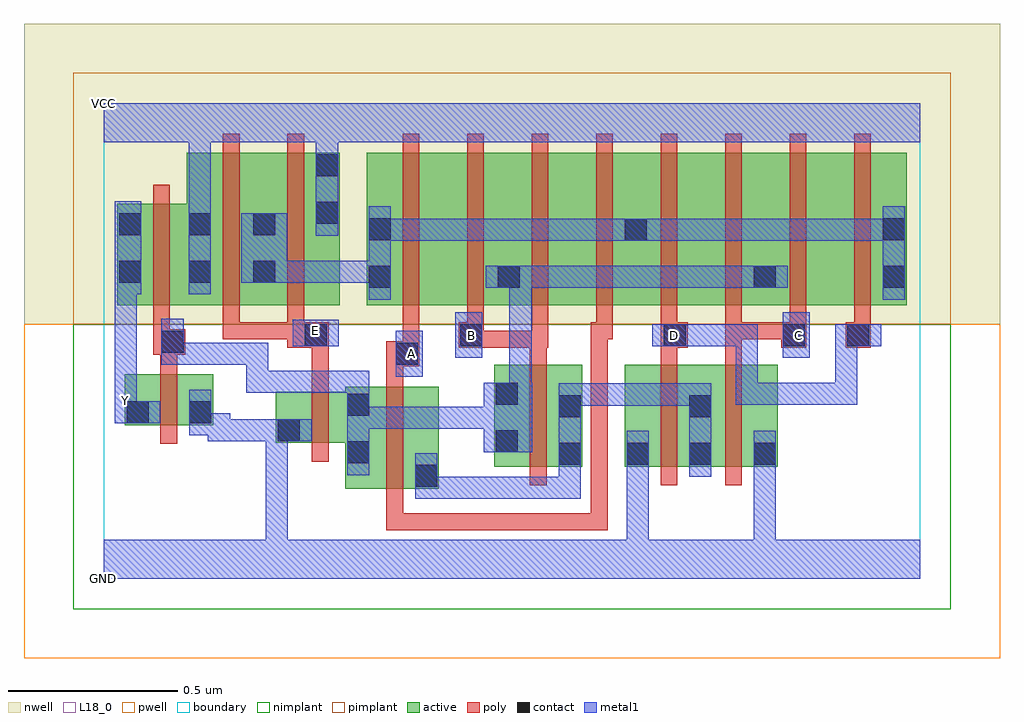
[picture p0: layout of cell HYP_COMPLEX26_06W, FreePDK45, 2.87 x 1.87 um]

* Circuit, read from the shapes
.subckt HYP_COMPLEX26_06W A B C D E GND VCC Y
M1 GND n1 Y VSUBS nfet w=0.15u l=0.05u
M2 n1 E GND VSUBS nfet w=0.15u l=0.05u
M3 n2 A n1 VSUBS nfet w=0.3u l=0.05u
M4 n2 B n1 VSUBS nfet w=0.3u l=0.05u
M5 n2 D GND VSUBS nfet w=0.3u l=0.05u
M6 GND C n2 VSUBS nfet w=0.3u l=0.05u
M7 VCC n1 Y n3 pfet w=0.3u l=0.05u
M8 n4 E VCC n3 pfet w=0.45u l=0.05u m=2
M9 n5 A n4 n3 pfet w=0.45u l=0.05u
M10 n1 B n5 n3 pfet w=0.45u l=0.05u
M11 n6 B n1 n3 pfet w=0.45u l=0.05u
M12 n4 A n6 n3 pfet w=0.45u l=0.05u
M13 n7 D n4 n3 pfet w=0.45u l=0.05u
M14 n1 C n7 n3 pfet w=0.45u l=0.05u
M15 n8 C n1 n3 pfet w=0.45u l=0.05u
M16 n4 D n8 n3 pfet w=0.45u l=0.05u
.ends

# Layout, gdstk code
import gdstk
lib = gdstk.Library(unit=1e-6, precision=1e-09)
def R(c, l, rs):  # rectangles x0, y0, x1, y1
    for r in rs: c.add(gdstk.rectangle(r[:2], r[2:], *l))
def A(c, l, x, y, w, h, nx, ny, dx, dy):  # array of equal rectangles
    R(c, l, [(x+i*dx, y+j*dy, x+i*dx+w, y+j*dy+h) for i in range(nx) for j in range(ny)])
active = (1, 0)
pwell = (2, 0)
nwell = (3, 0)
nimplant = (4, 0)
pimplant = (5, 0)
poly = (9, 0)
contact = (10, 0)
metal1 = (11, 0)
L18_0 = (18, 0)
boundary = (235, 0)

hyp_complex26_06w = lib.new_cell('HYP_COMPLEX26_06W')
A(hyp_complex26_06w, active, 1.38, 0.805, 0.225, 0.45, 3, 1, 0.38, 0)
R(hyp_complex26_06w, active, [(0.712,0.265,0.987,0.565), (0.712,0.265,0.787,0.55), (0.912,0.265,0.987,0.565), (1.15,0.33,1.41,0.63), (1.335,0.33,1.41,0.63), (1.535,0.33,1.795,0.63), (1.535,0.33,1.61,0.547), (1.72,0.33,1.985,0.63), (1.72,0.33,1.795,0.545), (1.91,0.33,1.985,0.63), (1.15,0.367,1.225,0.63), (0.507,0.4,0.787,0.55), (0.507,0.4,0.582,0.55), (0.062,0.452,0.137,0.602), (0.062,0.452,0.322,0.602), (0.247,0.452,0.322,0.602), (0.04,0.805,0.115,1.105), (0.04,0.805,0.32,1.105), (0.245,0.805,0.32,1.105), (0.245,0.805,0.51,1.255), (0.435,0.805,0.51,1.2), (0.435,0.805,0.695,1.255), (0.62,0.805,0.695,1.255), (0.775,0.805,1,1.255), (0.775,0.805,0.88,1.2), (1,0.805,1.23,1.255), (1.155,0.805,1.38,1.255), (1.155,0.805,1.23,1.07), (1.53,0.805,1.605,1.2), (1.53,0.805,1.76,1.255), (1.91,0.805,2.14,1.255), (1.91,0.805,1.985,1.07), (2.29,0.805,2.365,1.2)])
R(hyp_complex26_06w, pwell, [(-0.235,-0.235,2.64,0.75)])
R(hyp_complex26_06w, nwell, [(-0.235,0.75,2.64,1.635)])
R(hyp_complex26_06w, nimplant, [(-0.09,-0.09,2.495,0.75)])
R(hyp_complex26_06w, pimplant, [(-0.09,0.75,2.495,1.49)])
A(hyp_complex26_06w, poly, 1.45, 0.705, 0.05, 0.095, 5, 1, 0.19, 0)
A(hyp_complex26_06w, poly, 0.88, 0.75, 0.05, 0.56, 8, 1, 0.19, 0)
R(hyp_complex26_06w, poly, [(0.832,0.142,0.882,0.192), (0.832,0.142,0.882,0.192), (0.832,0.142,0.882,0.192), (0.832,0.142,1.015,0.192), (0.832,0.142,0.882,0.26), (0.965,0.142,1.015,0.192), (0.965,0.142,1.265,0.192), (1.215,0.142,1.265,0.192), (1.215,0.142,1.265,0.192), (1.215,0.142,1.265,0.192), (1.215,0.142,1.485,0.192), (1.435,0.142,1.485,0.192), (1.435,0.142,1.485,0.192), (1.435,0.142,1.485,0.192), (1.435,0.142,1.485,0.192), (1.435,0.142,1.485,0.192), (1.435,0.142,1.485,0.192), (1.435,0.142,1.485,0.192), (1.435,0.142,1.485,0.192), (1.435,0.142,1.485,0.192), (1.435,0.142,1.485,0.755), (0.832,0.21,0.882,0.62), (1.255,0.275,1.305,0.685), (1.64,0.275,1.69,0.685), (1.83,0.275,1.88,0.685), (0.612,0.345,0.662,0.605), (0.167,0.397,0.217,0.657), (0.612,0.555,0.662,0.73), (0.832,0.57,0.882,0.675), (0.167,0.607,0.217,0.71), (0.832,0.625,0.93,0.7), (1.255,0.635,1.305,0.73), (1.64,0.635,1.69,0.73), (1.83,0.635,1.88,0.755), (0.88,0.65,0.93,0.8), (0.145,0.66,0.24,0.735), (0.54,0.68,0.662,0.755), (1.045,0.68,1.12,0.755), (1.07,0.68,1.305,0.73), (1.255,0.68,1.305,0.73), (1.255,0.68,1.305,0.73), (1.255,0.68,1.31,0.73), (1.26,0.68,1.31,0.8), (1.64,0.68,1.72,0.755), (1.995,0.68,2.07,0.755), (2.185,0.68,2.26,0.755), (0.145,0.685,0.195,0.8), (0.35,0.705,0.4,0.8), (0.35,0.705,0.4,0.755), (0.35,0.705,0.59,0.755), (0.54,0.705,0.59,0.8), (0.54,0.705,0.59,0.755), (0.54,0.705,0.59,0.755), (1.07,0.705,1.12,0.8), (1.435,0.705,1.5,0.755), (1.83,0.705,2.045,0.755), (1.83,0.705,1.88,0.755), (1.83,0.705,1.88,0.755), (1.83,0.705,1.88,0.755), (0.145,0.75,0.195,1.16), (0.35,0.75,0.4,1.31), (0.54,0.75,0.59,1.31)])
R(hyp_complex26_06w, contact, [(0.917,0.27,0.982,0.335), (1.34,0.335,1.405,0.4), (1.54,0.335,1.605,0.4), (1.725,0.335,1.79,0.4), (1.915,0.335,1.98,0.4), (0.717,0.34,0.782,0.405), (1.155,0.372,1.22,0.437), (0.512,0.405,0.577,0.47), (0.067,0.457,0.132,0.522), (0.252,0.457,0.317,0.522), (1.34,0.475,1.405,0.54), (1.725,0.475,1.79,0.54), (0.717,0.48,0.782,0.545), (1.155,0.512,1.22,0.577), (0.86,0.63,0.925,0.695), (0.17,0.665,0.235,0.73), (0.592,0.685,0.657,0.75), (1.05,0.685,1.115,0.75), (1.65,0.685,1.715,0.75), (2,0.685,2.065,0.75), (2.19,0.685,2.255,0.75), (0.78,0.857,0.845,0.922), (1.16,0.857,1.225,0.922), (1.915,0.857,1.98,0.922), (2.295,0.857,2.36,0.922), (0.045,0.872,0.11,0.937), (0.25,0.872,0.315,0.937), (0.44,0.872,0.505,0.937), (1.535,0.995,1.6,1.06), (0.78,0.997,0.845,1.062), (2.295,0.997,2.36,1.062), (0.045,1.012,0.11,1.077), (0.25,1.012,0.315,1.077), (0.44,1.012,0.505,1.077), (0.625,1.045,0.69,1.11), (0.625,1.185,0.69,1.25)])
R(hyp_complex26_06w, metal1, [(0,0,2.405,0.115), (0.477,0.05,0.542,0.115), (0.477,0.05,0.542,0.115), (0.477,0.05,0.542,0.47), (1.54,0.05,1.605,0.365), (1.915,0.05,1.98,0.365), (0.917,0.235,0.982,0.37), (0.917,0.235,1.26,0.3), (1.195,0.235,1.26,0.3), (1.195,0.235,1.26,0.3), (1.195,0.235,1.26,0.3), (1.195,0.235,1.405,0.3), (1.34,0.235,1.405,0.365), (1.34,0.3,1.405,0.365), (1.34,0.3,1.405,0.575), (1.54,0.3,1.605,0.365), (1.54,0.3,1.605,0.365), (1.54,0.3,1.605,0.365), (1.54,0.3,1.605,0.365), (1.54,0.3,1.605,0.435), (1.725,0.3,1.79,0.575), (1.915,0.3,1.98,0.365), (1.915,0.3,1.98,0.365), (1.915,0.3,1.98,0.365), (1.915,0.3,1.98,0.365), (1.915,0.3,1.98,0.435), (0.717,0.305,0.782,0.612), (1.12,0.372,1.262,0.577), (0.307,0.405,0.542,0.47), (0.307,0.405,0.372,0.487), (0.477,0.405,0.542,0.47), (0.477,0.405,0.542,0.47), (0.477,0.405,0.542,0.47), (0.477,0.405,0.542,0.47), (0.477,0.405,0.612,0.47), (0.252,0.422,0.317,0.557), (0.252,0.422,0.372,0.487), (0.717,0.442,0.845,0.507), (0.78,0.442,0.845,0.507), (0.78,0.442,0.92,0.507), (0.855,0.442,0.92,0.507), (0.855,0.442,0.982,0.507), (0.917,0.442,0.982,0.507), (0.917,0.442,1.185,0.507), (1.12,0.442,1.185,0.507), (1.12,0.442,1.185,0.507), (0.032,0.457,0.097,0.522), (0.032,0.457,0.167,0.522), (0.032,0.457,0.097,0.592), (1.34,0.51,1.405,0.575), (1.34,0.51,1.405,0.575), (1.34,0.51,1.542,0.575), (1.477,0.51,1.542,0.575), (1.477,0.51,1.542,0.575), (1.477,0.51,1.542,0.575), (1.477,0.51,1.79,0.575), (1.725,0.51,1.79,0.575), (1.725,0.51,1.79,0.575), (1.195,0.512,1.26,0.577), (1.195,0.512,1.26,0.577), (1.195,0.512,1.26,0.922), (1.862,0.512,1.927,0.577), (1.862,0.512,1.927,0.75), (1.862,0.512,2.065,0.577), (2,0.512,2.065,0.577), (2,0.512,2.22,0.577), (2.155,0.512,2.22,0.577), (2.155,0.512,2.22,0.75), (0.032,0.527,0.097,0.902), (0.42,0.547,0.485,0.612), (0.42,0.547,0.707,0.612), (0.42,0.547,0.485,0.695), (0.642,0.547,0.707,0.612), (0.642,0.547,0.782,0.612), (0.86,0.595,0.94,0.73), (0.17,0.63,0.235,0.765), (0.17,0.63,0.332,0.695), (0.267,0.63,0.332,0.695), (0.267,0.63,0.402,0.695), (0.337,0.63,0.402,0.695), (0.337,0.63,0.485,0.695), (0.42,0.63,0.485,0.695), (1.035,0.65,1.115,0.785), (2,0.65,2.08,0.785), (0.557,0.685,0.692,0.762), (1.615,0.685,1.75,0.75), (1.685,0.685,1.772,0.75), (1.707,0.685,1.772,0.75), (1.707,0.685,1.927,0.75), (1.862,0.685,1.927,0.75), (1.862,0.685,1.927,0.75), (1.862,0.685,1.927,0.75), (2.155,0.685,2.22,0.75), (2.155,0.685,2.22,0.75), (2.155,0.685,2.29,0.75), (0.78,0.822,0.845,1.097), (2.295,0.822,2.36,1.097), (0.032,0.837,0.11,1.112), (0.25,0.837,0.315,1.112), (1.125,0.857,1.26,0.922), (1.195,0.857,1.405,0.922), (1.34,0.857,1.405,0.922), (1.34,0.857,1.405,0.922), (1.34,0.857,1.405,0.922), (1.34,0.857,1.542,0.922), (1.477,0.857,1.542,0.922), (1.477,0.857,1.542,0.922), (1.477,0.857,1.542,0.922), (1.477,0.857,1.772,0.922), (1.707,0.857,1.772,0.922), (1.707,0.857,1.772,0.922), (1.707,0.857,1.772,0.922), (1.707,0.857,1.927,0.922), (1.862,0.857,1.927,0.922), (1.862,0.857,1.945,0.922), (1.88,0.857,2.015,0.922), (0.405,0.872,0.54,1.077), (0.475,0.872,0.54,0.937), (0.475,0.872,0.54,0.937), (0.475,0.872,0.782,0.937), (0.717,0.872,0.782,0.937), (0.717,0.872,0.845,0.937), (0.78,0.995,0.962,1.06), (0.897,0.995,0.962,1.06), (0.897,0.995,1.047,1.06), (0.982,0.995,1.047,1.06), (0.982,0.995,1.047,1.06), (0.982,0.995,1.047,1.06), (0.982,0.995,1.185,1.06), (1.12,0.995,1.185,1.06), (1.12,0.995,1.185,1.06), (1.12,0.995,1.185,1.06), (1.12,0.995,1.397,1.06), (1.332,0.995,1.397,1.06), (1.332,0.995,1.397,1.06), (1.332,0.995,1.397,1.06), (1.332,0.995,1.542,1.06), (1.477,0.995,1.542,1.06), (1.477,0.995,1.565,1.06), (1.5,0.995,1.635,1.06), (1.57,0.995,1.772,1.06), (1.707,0.995,1.772,1.06), (1.707,0.995,1.772,1.06), (1.707,0.995,1.772,1.06), (1.707,0.995,1.927,1.06), (1.862,0.995,1.927,1.06), (1.862,0.995,1.927,1.06), (1.862,0.995,1.927,1.06), (1.862,0.995,2.065,1.06), (2,0.995,2.065,1.06), (2,0.995,2.202,1.06), (2.137,0.995,2.202,1.06), (2.137,0.995,2.202,1.06), (2.137,0.995,2.202,1.06), (2.137,0.995,2.36,1.06), (2.295,0.995,2.36,1.06), (2.295,0.995,2.36,1.06), (0.625,1.01,0.69,1.285), (0.25,1.047,0.315,1.35), (0.625,1.22,0.69,1.35), (0,1.285,2.405,1.4)])
R(hyp_complex26_06w, L18_0, [(0,0,2.405,0.115), (0.477,0.05,0.542,0.115), (0.477,0.05,0.542,0.115), (0.477,0.05,0.542,0.47), (1.54,0.05,1.605,0.365), (1.915,0.05,1.98,0.365), (1.54,0.3,1.605,0.435), (1.54,0.3,1.605,0.365), (1.54,0.3,1.605,0.365), (1.54,0.3,1.605,0.365), (1.54,0.3,1.605,0.365), (1.915,0.3,1.98,0.435), (1.915,0.3,1.98,0.365), (1.915,0.3,1.98,0.365), (1.915,0.3,1.98,0.365), (1.915,0.3,1.98,0.365), (0.307,0.405,0.372,0.487), (0.307,0.405,0.542,0.47), (0.477,0.405,0.612,0.47), (0.477,0.405,0.542,0.47), (0.477,0.405,0.542,0.47), (0.477,0.405,0.542,0.47), (0.477,0.405,0.542,0.47), (0.252,0.422,0.317,0.557), (0.252,0.422,0.372,0.487), (0.032,0.457,0.167,0.522), (0.032,0.457,0.097,0.592), (0.032,0.457,0.097,0.522), (0.032,0.492,0.097,0.557), (1.862,0.512,1.927,0.577), (1.862,0.512,1.927,0.75), (1.862,0.512,2.065,0.577), (2,0.512,2.065,0.577), (2,0.512,2.22,0.577), (2.155,0.512,2.22,0.577), (2.155,0.512,2.22,0.75), (0.032,0.527,0.097,0.902), (0.86,0.595,0.94,0.73), (0.875,0.63,0.94,0.695), (1.035,0.65,1.115,0.785), (2,0.65,2.08,0.785), (0.557,0.685,0.692,0.762), (1.05,0.685,1.115,0.75), (1.615,0.685,1.75,0.75), (1.65,0.685,1.715,0.75), (1.685,0.685,1.772,0.75), (1.707,0.685,1.772,0.75), (1.707,0.685,1.927,0.75), (1.862,0.685,1.927,0.75), (1.862,0.685,1.927,0.75), (1.862,0.685,1.927,0.75), (2.015,0.685,2.08,0.75), (2.155,0.685,2.29,0.75), (2.155,0.685,2.22,0.75), (2.155,0.685,2.22,0.75), (0.592,0.697,0.657,0.762), (0.032,0.837,0.11,1.112), (0.25,0.837,0.315,1.112), (0.625,1.01,0.69,1.285), (0.25,1.047,0.315,1.35), (0.625,1.22,0.69,1.35), (0,1.285,2.405,1.4)])
R(hyp_complex26_06w, boundary, [(0,0,2.405,1.4)])
hyp_complex26_06w.add(gdstk.Label('A', (0.907,0.662), layer=11, texttype=0))
hyp_complex26_06w.add(gdstk.Label('B', (1.082,0.717), layer=11, texttype=0))
hyp_complex26_06w.add(gdstk.Label('C', (2.047,0.717), layer=11, texttype=0))
hyp_complex26_06w.add(gdstk.Label('D', (1.682,0.717), layer=11, texttype=0))
hyp_complex26_06w.add(gdstk.Label('E', (0.625,0.73), layer=11, texttype=0))
hyp_complex26_06w.add(gdstk.Label('Y', (0.065,0.525), layer=11, texttype=0))
hyp_complex26_06w.add(gdstk.Label('VCC', (0,1.4), layer=11, texttype=0))
hyp_complex26_06w.add(gdstk.Label('GND', (0,0), layer=11, texttype=0))

lib.write_gds('HYP_COMPLEX26_06W.gds')
